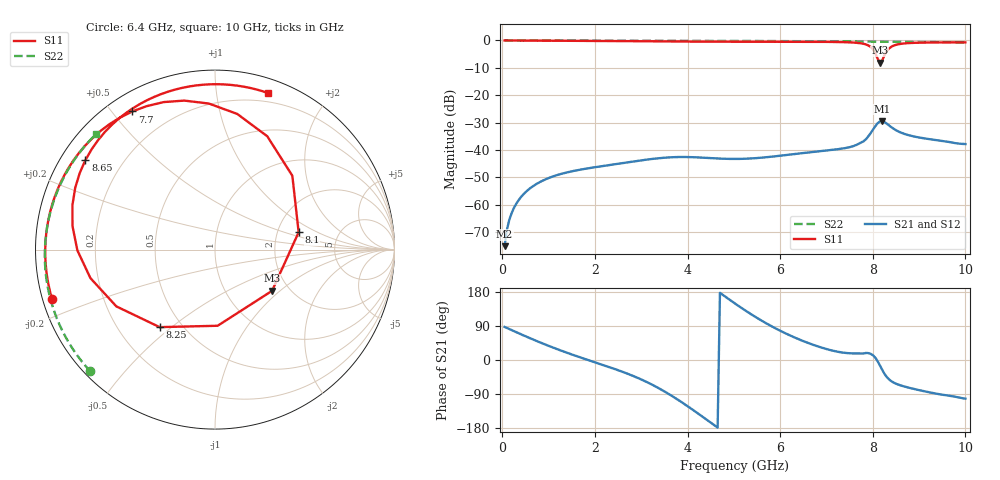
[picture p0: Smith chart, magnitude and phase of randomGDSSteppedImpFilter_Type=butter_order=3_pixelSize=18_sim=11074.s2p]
! freq	dB(S11)	phase(S11)	dB(S12)	phase(S12)
!  dB(S21)	phase(S21)	dB(S22)	phase(S22)
!S-par simulation data
#  GHz  S  DB  R 50
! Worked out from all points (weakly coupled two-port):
!   200 points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, 50 MHz to 10 GHz, reference 50 ohm
!   highest |S21| = -29.44 dB at 8.2 GHz (marker M1); lowest = -75.1 dB at 50 MHz (marker M2)
!   lowest |S11| = -8.1 dB at 8.15 GHz (marker M3), VSWR 2.29, Z = 81.7 - j44.3 ohm
!   |S11| at or under -10 dB: nowhere
!   |S22| runs from -0.7 to 0.0 dB; largest |S21 - S12| = 0
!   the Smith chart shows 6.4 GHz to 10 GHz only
!   S11 on the Smith chart (normalised r, x): 6.4 GHz: 0.03, -0.15; 7.7 GHz: 0.07, +0.56; 8.1 GHz: 2.63, +0.66; 8.25 GHz: 0.38, -0.45; 8.65 GHz: 0.07, +0.31; 10 GHz: 0.12, +1.39
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0.05  -0.00 -4.4  -75.10 87.2  -75.10 87.2  -0.00 -1.1
0.3  -0.03 -26.4  -59.65 73.4  -59.65 73.4  -0.01 -6.8
0.9  -0.09 -76.8  -50.95 42.2  -50.95 42.2  -0.03 -20.3
1.75  -0.16 -142.2  -46.97 4.1  -46.97 4.1  -0.05 -39.2
2.55  -0.23 156.0  -44.90 -29.1  -44.90 -29.1  -0.07 -56.6
3.4  -0.35 76.6  -42.95 -75.9  -42.95 -75.9  -0.10 -74.5
3.8  -0.41 33.4  -42.56 -105.5  -42.56 -105.5  -0.11 -82.8
4.15  -0.43 -4.2  -42.64 -134.5  -42.64 -134.5  -0.13 -90.0
4.6  -0.44 -47.8  -43.05 -174.0  -43.05 -174.0  -0.15 -99.1
5.05  -0.43 -84.2  -43.26 146.9  -43.26 146.9  -0.17 -108.2
6.4  -0.46 -163.0  -41.29 54.9  -41.29 54.9  -0.26 -135.6
6.7  -0.48 -177.8  -40.72 40.7  -40.72 40.7  -0.28 -141.9
7.7  -0.94 120.9  -37.69 17.4  -37.69 17.4  -0.38 -163.5
7.95  -2.32 80.7  -33.93 16.5  -33.93 16.5  -0.41 -169.2
8.1  -6.45 11.7  -30.30 -2.3  -30.30 -2.3  -0.43 -172.7
8.15  -8.13 -35.8  -29.59 -13.6  -29.59 -13.6  -0.44 -173.9
8.2  -7.44 -88.0  -29.44 -25.5  -29.44 -25.5  -0.44 -175.1
8.25  -5.50 -125.5  -29.76 -36.1  -29.76 -36.1  -0.45 -176.3
8.35  -2.95 -167.1  -31.00 -51.0  -31.00 -51.0  -0.46 -178.7
8.65  -1.14 145.4  -33.91 -68.9  -33.91 -68.9  -0.50 173.9
9.2  -0.75 109.0  -35.97 -84.8  -35.97 -84.8  -0.57 159.4
10  -0.71 71.1  -37.83 -102.0  -37.83 -102.0  -0.69 135.9
